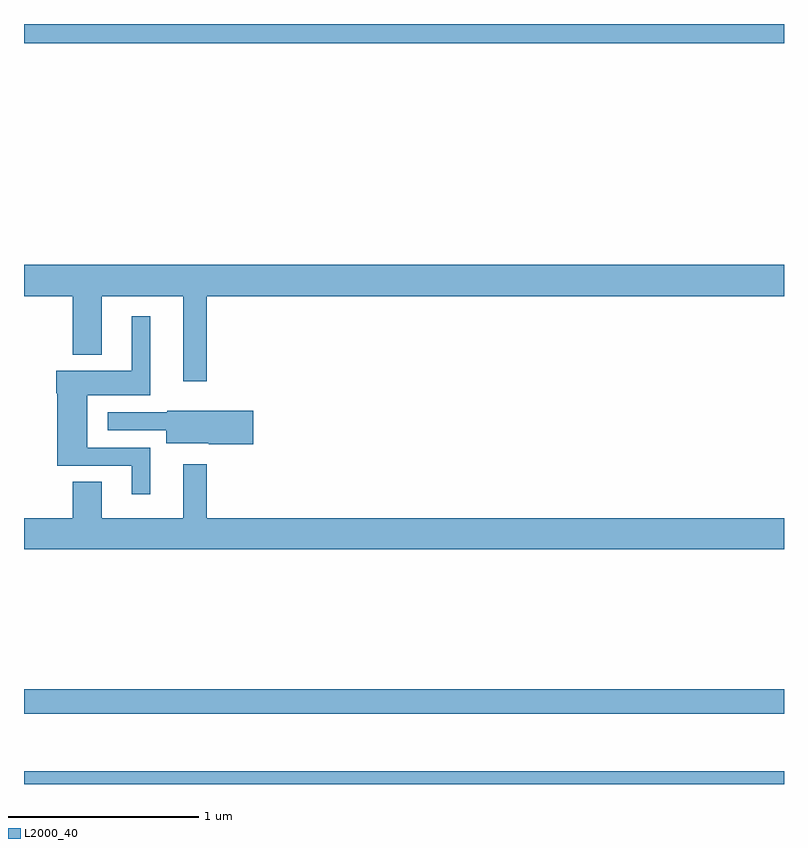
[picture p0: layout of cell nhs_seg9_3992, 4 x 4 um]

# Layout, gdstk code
import gdstk
lib = gdstk.Library(unit=1e-6, precision=1e-09)
def R(c, l, rs):  # rectangles x0, y0, x1, y1
    for r in rs: c.add(gdstk.rectangle(r[:2], r[2:], *l))
def P(c, l, *ps):  # polygons
    for p in ps: c.add(gdstk.Polygon(p, *l))
L2000_40 = (2000, 40)

nhs_seg9_3992 = lib.new_cell('nhs_seg9_3992')
R(nhs_seg9_3992, L2000_40, [(339,1212.5,343,1212.568), (339,1212.87,343,1212.998), (339,1216.4,343,1216.5)])
P(nhs_seg9_3992, L2000_40, [(339.961,1215.068),(343,1215.068),(343,1215.232),(339,1215.232),(339,1215.068),(339.257,1215.068),(339.257,1214.759),(339.409,1214.759),(339.409,1215.068),(339.839,1215.068),(339.839,1214.619),(339.961,1214.619)],
  [(339.664,1214.271),(339.334,1214.271),(339.334,1214.546),(339.664,1214.546),(339.664,1214.962),(339.566,1214.962),(339.566,1214.674),(339.17,1214.674),(339.17,1214.556),(339.176,1214.556),(339.176,1214.175),(339.566,1214.175),(339.566,1214.025),(339.664,1214.025)],
  [(340.207,1214.465),(339.753,1214.465),(339.753,1214.457),(339.441,1214.457),(339.441,1214.361),(339.749,1214.361),(339.749,1214.294),(339.972,1214.294),(339.972,1214.287),(340.207,1214.287)],
  [(343,1213.9),(339.961,1213.9),(339.961,1214.182),(339.839,1214.182),(339.839,1213.9),(339.409,1213.9),(339.409,1214.09),(339.257,1214.09),(339.257,1213.9),(339,1213.9),(339,1213.736),(343,1213.736)])

lib.write_gds('nhs_seg9_3992.gds')
